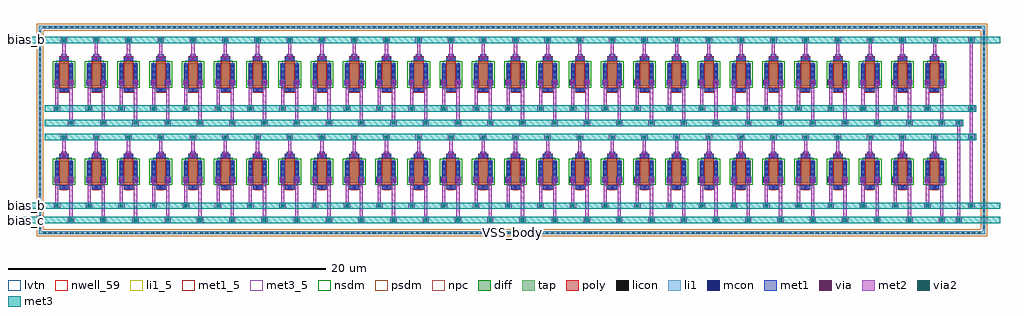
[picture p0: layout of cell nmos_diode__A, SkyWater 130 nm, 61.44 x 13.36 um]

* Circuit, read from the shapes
.subckt nmos_diode__A VSS_body bias_b bias_c
XM1 bias_c bias_b bias_b VSS_body sky130_fd_pr__nfet_01v8_lvt w=1.4 l=0.6 m=56
.ends

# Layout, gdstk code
import gdstk
lib = gdstk.Library(unit=1e-6, precision=1e-09)
def R(c, l, rs):  # rectangles x0, y0, x1, y1
    for r in rs: c.add(gdstk.rectangle(r[:2], r[2:], *l))
def A(c, l, x, y, w, h, nx, ny, dx, dy):  # array of equal rectangles
    R(c, l, [(x+i*dx, y+j*dy, x+i*dx+w, y+j*dy+h) for i in range(nx) for j in range(ny)])
nwell_59 = (64, 59)
diff = (65, 20)
tap = (65, 44)
poly = (66, 20)
licon = (66, 44)
li1_5 = (67, 5)
li1 = (67, 20)
mcon = (67, 44)
met1_5 = (68, 5)
met1 = (68, 20)
via = (68, 44)
met2 = (69, 20)
via2 = (69, 44)
met3_5 = (70, 5)
met3 = (70, 20)
nsdm = (93, 44)
psdm = (94, 20)
npc = (95, 20)
lvtn = (125, 44)

sky130_fd_pr__nfet_01v8_ = lib.new_cell('sky130_fd_pr__nfet_01v8_lvt_KCM6UP')
R(sky130_fd_pr__nfet_01v8_, diff, [(-0.59,-0.7,0.59,0.7)])
R(sky130_fd_pr__nfet_01v8_, poly, [(-0.3,-1.14,0.3,1.14)])
A(sky130_fd_pr__nfet_01v8_, licon, -0.53, -0.595, 0.17, 0.17, 1, 4, 0, 0.34)
A(sky130_fd_pr__nfet_01v8_, licon, 0.36, -0.595, 0.17, 0.17, 1, 4, 0, 0.34)
R(sky130_fd_pr__nfet_01v8_, licon, [(-0.085,-1.06,0.085,-0.89), (-0.085,0.89,0.085,1.06)])
R(sky130_fd_pr__nfet_01v8_, li1, [(-0.3,-1.06,0.3,-0.89), (-0.53,-0.72,-0.36,0.72), (0.36,-0.72,0.53,0.72), (-0.3,0.89,0.3,1.06)])
A(sky130_fd_pr__nfet_01v8_, mcon, -0.53, -0.625, 0.17, 0.17, 1, 4, 0, 0.36)
A(sky130_fd_pr__nfet_01v8_, mcon, 0.36, -0.625, 0.17, 0.17, 1, 4, 0, 0.36)
R(sky130_fd_pr__nfet_01v8_, mcon, [(-0.085,-1.06,0.085,-0.89), (-0.085,0.89,0.085,1.06)])
R(sky130_fd_pr__nfet_01v8_, met1, [(-0.28,-1.09,0.28,-0.86), (-0.56,-0.7,-0.33,0.7), (0.33,-0.7,0.56,0.7), (-0.28,0.86,0.28,1.09)])
R(sky130_fd_pr__nfet_01v8_, nsdm, [(-0.715,-0.825,0.715,0.825)])
R(sky130_fd_pr__nfet_01v8_, npc, [(-0.185,-1.16,0.185,-0.79), (-0.185,0.79,0.185,1.16)])
R(sky130_fd_pr__nfet_01v8_, lvtn, [(-0.48,-0.88,0.48,0.88)])
sky130_fd_pr__nfet_01v8_.add(gdstk.Label('D', (-0.445,0), layer=67, texttype=5))
sky130_fd_pr__nfet_01v8_.add(gdstk.Label('S', (0.445,0), layer=67, texttype=5))
sky130_fd_pr__nfet_01v8_.add(gdstk.Label('G', (0,0.975), layer=67, texttype=5))

nfet_01v8_lvt_w1p4_l0p6_ = lib.new_cell('nfet_01v8_lvt_W1p4_L0p6_m56__nf1_gboth_sdfull_ng')
R(nfet_01v8_lvt_w1p4_l0p6_, nwell_59, [(0.05,1.09,0.15,1.19)])
R(nfet_01v8_lvt_w1p4_l0p6_, met1_5, [(0.03,1.14,0.26,1.34), (0.92,1.14,1.15,1.34), (0.31,2,0.87,2.23)])
R(nfet_01v8_lvt_w1p4_l0p6_, met1, [(0.03,1.14,0.26,1.34), (0.92,1.14,1.15,1.34), (0.31,2,0.87,2.23)])
nfet_01v8_lvt_w1p4_l0p6_.add(gdstk.Reference(sky130_fd_pr__nfet_01v8_, (0.59,1.14)))
nfet_01v8_lvt_w1p4_l0p6_.add(gdstk.Label('D', (0.145,1.24), layer=68, texttype=5))
nfet_01v8_lvt_w1p4_l0p6_.add(gdstk.Label('S', (1.035,1.24), layer=68, texttype=5))
nfet_01v8_lvt_w1p4_l0p6_.add(gdstk.Label('G', (0.59,2.115), layer=68, texttype=5))
nfet_01v8_lvt_w1p4_l0p6_.add(gdstk.Label('B', (0.1,1.14), layer=64, texttype=59))

nmos_diode__a = lib.new_cell('nmos_diode__A')
R(nmos_diode__a, tap, [(-0.885,-2.785,58.725,-2.615), (-0.885,-2.615,-0.715,10.155), (58.555,-2.615,58.725,10.155), (-0.885,10.155,58.725,10.325)])
A(nmos_diode__a, licon, -0.575, -2.785, 0.17, 0.17, 174, 2, 0.34, 12.94)
A(nmos_diode__a, licon, -0.885, -2.435, 0.17, 0.17, 1, 37, 0, 0.34)
A(nmos_diode__a, licon, 58.555, -2.435, 0.17, 0.17, 1, 37, 0, 0.34)
R(nmos_diode__a, li1_5, [(28.87,-2.75,28.97,-2.65)])
R(nmos_diode__a, li1, [(-0.885,-2.785,58.725,-2.615), (-0.885,-2.615,-0.715,10.155), (58.555,-2.615,58.725,10.155), (-0.885,10.155,58.725,10.325)])
A(nmos_diode__a, met1, 0.535, 2.05, 0.36, 0.36, 28, 2, 2.03, 6.12)
R(nmos_diode__a, met1, [(0.09,0.46,0.45,0.82), (0.98,0.46,1.34,0.82), (2.12,0.46,2.48,0.82), (3.01,0.46,3.37,0.82), (4.15,0.46,4.51,0.82), (5.04,0.46,5.4,0.82), (6.18,0.46,6.54,0.82), (7.07,0.46,7.43,0.82), (8.21,0.46,8.57,0.82), (9.1,0.46,9.46,0.82), (10.24,0.46,10.6,0.82), (11.13,0.46,11.49,0.82), (12.27,0.46,12.63,0.82), (13.16,0.46,13.52,0.82), (14.3,0.46,14.66,0.82), (15.19,0.46,15.55,0.82), (16.33,0.46,16.69,0.82), (17.22,0.46,17.58,0.82), (18.36,0.46,18.72,0.82), (19.25,0.46,19.61,0.82), (20.39,0.46,20.75,0.82), (21.28,0.46,21.64,0.82), (22.42,0.46,22.78,0.82), (23.31,0.46,23.67,0.82), (24.45,0.46,24.81,0.82), (25.34,0.46,25.7,0.82), (26.48,0.46,26.84,0.82), (27.37,0.46,27.73,0.82), (28.51,0.46,28.87,0.82), (29.4,0.46,29.76,0.82), (30.54,0.46,30.9,0.82), (31.43,0.46,31.79,0.82), (32.57,0.46,32.93,0.82), (33.46,0.46,33.82,0.82), (34.6,0.46,34.96,0.82), (35.49,0.46,35.85,0.82), (36.63,0.46,36.99,0.82), (37.52,0.46,37.88,0.82), (38.66,0.46,39.02,0.82), (39.55,0.46,39.91,0.82), (40.69,0.46,41.05,0.82), (41.58,0.46,41.94,0.82), (42.72,0.46,43.08,0.82), (43.61,0.46,43.97,0.82), (44.75,0.46,45.11,0.82), (45.64,0.46,46,0.82), (46.78,0.46,47.14,0.82), (47.67,0.46,48.03,0.82), (48.81,0.46,49.17,0.82), (49.7,0.46,50.06,0.82), (50.84,0.46,51.2,0.82), (51.73,0.46,52.09,0.82), (52.87,0.46,53.23,0.82), (53.76,0.46,54.12,0.82), (54.9,0.46,55.26,0.82), (55.79,0.46,56.15,0.82), (0.09,6.58,0.45,6.94), (0.98,6.58,1.34,6.94), (2.12,6.58,2.48,6.94), (3.01,6.58,3.37,6.94), (4.15,6.58,4.51,6.94), (5.04,6.58,5.4,6.94), (6.18,6.58,6.54,6.94), (7.07,6.58,7.43,6.94), (8.21,6.58,8.57,6.94), (9.1,6.58,9.46,6.94), (10.24,6.58,10.6,6.94), (11.13,6.58,11.49,6.94), (12.27,6.58,12.63,6.94), (13.16,6.58,13.52,6.94), (14.3,6.58,14.66,6.94), (15.19,6.58,15.55,6.94), (16.33,6.58,16.69,6.94), (17.22,6.58,17.58,6.94), (18.36,6.58,18.72,6.94), (19.25,6.58,19.61,6.94), (20.39,6.58,20.75,6.94), (21.28,6.58,21.64,6.94), (22.42,6.58,22.78,6.94), (23.31,6.58,23.67,6.94), (24.45,6.58,24.81,6.94), (25.34,6.58,25.7,6.94), (26.48,6.58,26.84,6.94), (27.37,6.58,27.73,6.94), (28.51,6.58,28.87,6.94), (29.4,6.58,29.76,6.94), (30.54,6.58,30.9,6.94), (31.43,6.58,31.79,6.94), (32.57,6.58,32.93,6.94), (33.46,6.58,33.82,6.94), (34.6,6.58,34.96,6.94), (35.49,6.58,35.85,6.94), (36.63,6.58,36.99,6.94), (37.52,6.58,37.88,6.94), (38.66,6.58,39.02,6.94), (39.55,6.58,39.91,6.94), (40.69,6.58,41.05,6.94), (41.58,6.58,41.94,6.94), (42.72,6.58,43.08,6.94), (43.61,6.58,43.97,6.94), (44.75,6.58,45.11,6.94), (45.64,6.58,46,6.94), (46.78,6.58,47.14,6.94), (47.67,6.58,48.03,6.94), (48.81,6.58,49.17,6.94), (49.7,6.58,50.06,6.94), (50.84,6.58,51.2,6.94), (51.73,6.58,52.09,6.94), (52.87,6.58,53.23,6.94), (53.76,6.58,54.12,6.94), (54.9,6.58,55.26,6.94), (55.79,6.58,56.15,6.94)])
A(nmos_diode__a, via, 0.64, 2.155, 0.15, 0.15, 28, 2, 2.03, 6.12)
R(nmos_diode__a, via, [(0.195,0.565,0.345,0.715), (1.085,0.565,1.235,0.715), (2.225,0.565,2.375,0.715), (3.115,0.565,3.265,0.715), (4.255,0.565,4.405,0.715), (5.145,0.565,5.295,0.715), (6.285,0.565,6.435,0.715), (7.175,0.565,7.325,0.715), (8.315,0.565,8.465,0.715), (9.205,0.565,9.355,0.715), (10.345,0.565,10.495,0.715), (11.235,0.565,11.385,0.715), (12.375,0.565,12.525,0.715), (13.265,0.565,13.415,0.715), (14.405,0.565,14.555,0.715), (15.295,0.565,15.445,0.715), (16.435,0.565,16.585,0.715), (17.325,0.565,17.475,0.715), (18.465,0.565,18.615,0.715), (19.355,0.565,19.505,0.715), (20.495,0.565,20.645,0.715), (21.385,0.565,21.535,0.715), (22.525,0.565,22.675,0.715), (23.415,0.565,23.565,0.715), (24.555,0.565,24.705,0.715), (25.445,0.565,25.595,0.715), (26.585,0.565,26.735,0.715), (27.475,0.565,27.625,0.715), (28.615,0.565,28.765,0.715), (29.505,0.565,29.655,0.715), (30.645,0.565,30.795,0.715), (31.535,0.565,31.685,0.715), (32.675,0.565,32.825,0.715), (33.565,0.565,33.715,0.715), (34.705,0.565,34.855,0.715), (35.595,0.565,35.745,0.715), (36.735,0.565,36.885,0.715), (37.625,0.565,37.775,0.715), (38.765,0.565,38.915,0.715), (39.655,0.565,39.805,0.715), (40.795,0.565,40.945,0.715), (41.685,0.565,41.835,0.715), (42.825,0.565,42.975,0.715), (43.715,0.565,43.865,0.715), (44.855,0.565,45.005,0.715), (45.745,0.565,45.895,0.715), (46.885,0.565,47.035,0.715), (47.775,0.565,47.925,0.715), (48.915,0.565,49.065,0.715), (49.805,0.565,49.955,0.715), (50.945,0.565,51.095,0.715), (51.835,0.565,51.985,0.715), (52.975,0.565,53.125,0.715), (53.865,0.565,54.015,0.715), (55.005,0.565,55.155,0.715), (55.895,0.565,56.045,0.715), (0.195,6.685,0.345,6.835), (1.085,6.685,1.235,6.835), (2.225,6.685,2.375,6.835), (3.115,6.685,3.265,6.835), (4.255,6.685,4.405,6.835), (5.145,6.685,5.295,6.835), (6.285,6.685,6.435,6.835), (7.175,6.685,7.325,6.835), (8.315,6.685,8.465,6.835), (9.205,6.685,9.355,6.835), (10.345,6.685,10.495,6.835), (11.235,6.685,11.385,6.835), (12.375,6.685,12.525,6.835), (13.265,6.685,13.415,6.835), (14.405,6.685,14.555,6.835), (15.295,6.685,15.445,6.835), (16.435,6.685,16.585,6.835), (17.325,6.685,17.475,6.835), (18.465,6.685,18.615,6.835), (19.355,6.685,19.505,6.835), (20.495,6.685,20.645,6.835), (21.385,6.685,21.535,6.835), (22.525,6.685,22.675,6.835), (23.415,6.685,23.565,6.835), (24.555,6.685,24.705,6.835), (25.445,6.685,25.595,6.835), (26.585,6.685,26.735,6.835), (27.475,6.685,27.625,6.835), (28.615,6.685,28.765,6.835), (29.505,6.685,29.655,6.835), (30.645,6.685,30.795,6.835), (31.535,6.685,31.685,6.835), (32.675,6.685,32.825,6.835), (33.565,6.685,33.715,6.835), (34.705,6.685,34.855,6.835), (35.595,6.685,35.745,6.835), (36.735,6.685,36.885,6.835), (37.625,6.685,37.775,6.835), (38.765,6.685,38.915,6.835), (39.655,6.685,39.805,6.835), (40.795,6.685,40.945,6.835), (41.685,6.685,41.835,6.835), (42.825,6.685,42.975,6.835), (43.715,6.685,43.865,6.835), (44.855,6.685,45.005,6.835), (45.745,6.685,45.895,6.835), (46.885,6.685,47.035,6.835), (47.775,6.685,47.925,6.835), (48.915,6.685,49.065,6.835), (49.805,6.685,49.955,6.835), (50.945,6.685,51.095,6.835), (51.835,6.685,51.985,6.835), (52.975,6.685,53.125,6.835), (53.865,6.685,54.015,6.835), (55.005,6.685,55.155,6.835), (55.895,6.685,56.045,6.835)])
A(nmos_diode__a, met2, 0.96, -2.1, 0.4, 0.4, 28, 2, 2.03, 6.12)
A(nmos_diode__a, met2, 1.06, -1.7, 0.2, 2.18, 28, 2, 2.03, 6.12)
A(nmos_diode__a, met2, 0.07, -1.2, 0.4, 0.4, 28, 2, 2.03, 6.12)
A(nmos_diode__a, met2, 0.17, -0.8, 0.2, 1.28, 28, 2, 2.03, 6.12)
A(nmos_diode__a, met2, 0.585, 2.07, 0.26, 0.32, 28, 2, 2.03, 6.12)
A(nmos_diode__a, met2, 0.615, 2.39, 0.2, 0.73, 28, 2, 2.03, 6.12)
A(nmos_diode__a, met2, 0.515, 3.12, 0.4, 0.4, 28, 2, 2.03, 6.12)
R(nmos_diode__a, met2, [(56.84,-2.1,57.24,-1.7), (56.94,-1.7,57.14,4.02), (57.64,-1.2,58.04,-0.8), (57.74,-0.8,57.94,3.12), (0.14,0.48,0.4,0.8), (1.03,0.48,1.29,0.8), (2.17,0.48,2.43,0.8), (3.06,0.48,3.32,0.8), (4.2,0.48,4.46,0.8), (5.09,0.48,5.35,0.8), (6.23,0.48,6.49,0.8), (7.12,0.48,7.38,0.8), (8.26,0.48,8.52,0.8), (9.15,0.48,9.41,0.8), (10.29,0.48,10.55,0.8), (11.18,0.48,11.44,0.8), (12.32,0.48,12.58,0.8), (13.21,0.48,13.47,0.8), (14.35,0.48,14.61,0.8), (15.24,0.48,15.5,0.8), (16.38,0.48,16.64,0.8), (17.27,0.48,17.53,0.8), (18.41,0.48,18.67,0.8), (19.3,0.48,19.56,0.8), (20.44,0.48,20.7,0.8), (21.33,0.48,21.59,0.8), (22.47,0.48,22.73,0.8), (23.36,0.48,23.62,0.8), (24.5,0.48,24.76,0.8), (25.39,0.48,25.65,0.8), (26.53,0.48,26.79,0.8), (27.42,0.48,27.68,0.8), (28.56,0.48,28.82,0.8), (29.45,0.48,29.71,0.8), (30.59,0.48,30.85,0.8), (31.48,0.48,31.74,0.8), (32.62,0.48,32.88,0.8), (33.51,0.48,33.77,0.8), (34.65,0.48,34.91,0.8), (35.54,0.48,35.8,0.8), (36.68,0.48,36.94,0.8), (37.57,0.48,37.83,0.8), (38.71,0.48,38.97,0.8), (39.6,0.48,39.86,0.8), (40.74,0.48,41,0.8), (41.63,0.48,41.89,0.8), (42.77,0.48,43.03,0.8), (43.66,0.48,43.92,0.8), (44.8,0.48,45.06,0.8), (45.69,0.48,45.95,0.8), (46.83,0.48,47.09,0.8), (47.72,0.48,47.98,0.8), (48.86,0.48,49.12,0.8), (49.75,0.48,50.01,0.8), (50.89,0.48,51.15,0.8), (51.78,0.48,52.04,0.8), (52.92,0.48,53.18,0.8), (53.81,0.48,54.07,0.8), (54.95,0.48,55.21,0.8), (55.84,0.48,56.1,0.8), (57.64,3.12,58.04,3.52), (57.74,3.52,57.94,4.92), (56.84,4.02,57.24,4.42), (57.64,4.92,58.04,5.32), (57.74,5.32,57.94,9.24), (0.14,6.6,0.4,6.92), (1.03,6.6,1.29,6.92), (2.17,6.6,2.43,6.92), (3.06,6.6,3.32,6.92), (4.2,6.6,4.46,6.92), (5.09,6.6,5.35,6.92), (6.23,6.6,6.49,6.92), (7.12,6.6,7.38,6.92), (8.26,6.6,8.52,6.92), (9.15,6.6,9.41,6.92), (10.29,6.6,10.55,6.92), (11.18,6.6,11.44,6.92), (12.32,6.6,12.58,6.92), (13.21,6.6,13.47,6.92), (14.35,6.6,14.61,6.92), (15.24,6.6,15.5,6.92), (16.38,6.6,16.64,6.92), (17.27,6.6,17.53,6.92), (18.41,6.6,18.67,6.92), (19.3,6.6,19.56,6.92), (20.44,6.6,20.7,6.92), (21.33,6.6,21.59,6.92), (22.47,6.6,22.73,6.92), (23.36,6.6,23.62,6.92), (24.5,6.6,24.76,6.92), (25.39,6.6,25.65,6.92), (26.53,6.6,26.79,6.92), (27.42,6.6,27.68,6.92), (28.56,6.6,28.82,6.92), (29.45,6.6,29.71,6.92), (30.59,6.6,30.85,6.92), (31.48,6.6,31.74,6.92), (32.62,6.6,32.88,6.92), (33.51,6.6,33.77,6.92), (34.65,6.6,34.91,6.92), (35.54,6.6,35.8,6.92), (36.68,6.6,36.94,6.92), (37.57,6.6,37.83,6.92), (38.71,6.6,38.97,6.92), (39.6,6.6,39.86,6.92), (40.74,6.6,41,6.92), (41.63,6.6,41.89,6.92), (42.77,6.6,43.03,6.92), (43.66,6.6,43.92,6.92), (44.8,6.6,45.06,6.92), (45.69,6.6,45.95,6.92), (46.83,6.6,47.09,6.92), (47.72,6.6,47.98,6.92), (48.86,6.6,49.12,6.92), (49.75,6.6,50.01,6.92), (50.89,6.6,51.15,6.92), (51.78,6.6,52.04,6.92), (52.92,6.6,53.18,6.92), (53.81,6.6,54.07,6.92), (54.95,6.6,55.21,6.92), (55.84,6.6,56.1,6.92), (57.64,9.24,58.04,9.64)])
A(nmos_diode__a, via2, 1.06, -2, 0.2, 0.2, 28, 2, 2.03, 6.12)
A(nmos_diode__a, via2, 0.17, -1.1, 0.2, 0.2, 28, 2, 2.03, 6.12)
A(nmos_diode__a, via2, 0.615, 3.22, 0.2, 0.2, 28, 2, 2.03, 6.12)
R(nmos_diode__a, via2, [(56.94,-2,57.14,-1.8), (57.74,-1.1,57.94,-0.9), (57.74,3.22,57.94,3.42), (56.94,4.12,57.14,4.32), (57.74,5.02,57.94,5.22), (57.74,9.34,57.94,9.54)])
R(nmos_diode__a, met3_5, [(-1.7,-1.95,-1.6,-1.85), (-1.7,-1.05,-1.6,-0.95), (-1.7,9.39,-1.6,9.49)])
R(nmos_diode__a, met3, [(-1.8,-2.1,59.64,-1.7), (-1.8,-1.2,59.64,-0.8), (-0.5,3.12,58.14,3.52), (-0.5,4.02,57.34,4.42), (-0.5,4.92,58.14,5.32), (-1.8,9.24,59.64,9.64)])
R(nmos_diode__a, psdm, [(-1.01,-2.91,58.85,-2.49), (-1.01,-2.49,-0.59,10.03), (58.43,-2.49,58.85,10.03), (-1.01,10.03,58.85,10.45)])
nmos_diode__a.add(gdstk.Reference(nfet_01v8_lvt_w1p4_l0p6_, (54.94,6.12)))
nmos_diode__a.add(gdstk.Reference(nfet_01v8_lvt_w1p4_l0p6_, (52.91,6.12)))
nmos_diode__a.add(gdstk.Reference(nfet_01v8_lvt_w1p4_l0p6_, (50.88,6.12)))
nmos_diode__a.add(gdstk.Reference(nfet_01v8_lvt_w1p4_l0p6_, (48.85,6.12)))
nmos_diode__a.add(gdstk.Reference(nfet_01v8_lvt_w1p4_l0p6_, (46.82,6.12)))
nmos_diode__a.add(gdstk.Reference(nfet_01v8_lvt_w1p4_l0p6_, (44.79,6.12)))
nmos_diode__a.add(gdstk.Reference(nfet_01v8_lvt_w1p4_l0p6_, (42.76,6.12)))
nmos_diode__a.add(gdstk.Reference(nfet_01v8_lvt_w1p4_l0p6_, (40.73,6.12)))
nmos_diode__a.add(gdstk.Reference(nfet_01v8_lvt_w1p4_l0p6_, (38.7,6.12)))
nmos_diode__a.add(gdstk.Reference(nfet_01v8_lvt_w1p4_l0p6_, (36.67,6.12)))
nmos_diode__a.add(gdstk.Reference(nfet_01v8_lvt_w1p4_l0p6_, (34.64,6.12)))
nmos_diode__a.add(gdstk.Reference(nfet_01v8_lvt_w1p4_l0p6_, (32.61,6.12)))
nmos_diode__a.add(gdstk.Reference(nfet_01v8_lvt_w1p4_l0p6_, (30.58,6.12)))
nmos_diode__a.add(gdstk.Reference(nfet_01v8_lvt_w1p4_l0p6_, (28.55,6.12)))
nmos_diode__a.add(gdstk.Reference(nfet_01v8_lvt_w1p4_l0p6_, (26.52,6.12)))
nmos_diode__a.add(gdstk.Reference(nfet_01v8_lvt_w1p4_l0p6_, (24.49,6.12)))
nmos_diode__a.add(gdstk.Reference(nfet_01v8_lvt_w1p4_l0p6_, (22.46,6.12)))
nmos_diode__a.add(gdstk.Reference(nfet_01v8_lvt_w1p4_l0p6_, (20.43,6.12)))
nmos_diode__a.add(gdstk.Reference(nfet_01v8_lvt_w1p4_l0p6_, (18.4,6.12)))
nmos_diode__a.add(gdstk.Reference(nfet_01v8_lvt_w1p4_l0p6_, (16.37,6.12)))
nmos_diode__a.add(gdstk.Reference(nfet_01v8_lvt_w1p4_l0p6_, (14.34,6.12)))
nmos_diode__a.add(gdstk.Reference(nfet_01v8_lvt_w1p4_l0p6_, (12.31,6.12)))
nmos_diode__a.add(gdstk.Reference(nfet_01v8_lvt_w1p4_l0p6_, (10.28,6.12)))
nmos_diode__a.add(gdstk.Reference(nfet_01v8_lvt_w1p4_l0p6_, (8.25,6.12)))
nmos_diode__a.add(gdstk.Reference(nfet_01v8_lvt_w1p4_l0p6_, (6.22,6.12)))
nmos_diode__a.add(gdstk.Reference(nfet_01v8_lvt_w1p4_l0p6_, (4.19,6.12)))
nmos_diode__a.add(gdstk.Reference(nfet_01v8_lvt_w1p4_l0p6_, (2.16,6.12)))
nmos_diode__a.add(gdstk.Reference(nfet_01v8_lvt_w1p4_l0p6_, (0.13,6.12)))
nmos_diode__a.add(gdstk.Reference(nfet_01v8_lvt_w1p4_l0p6_, (54.94,0)))
nmos_diode__a.add(gdstk.Reference(nfet_01v8_lvt_w1p4_l0p6_, (52.91,0)))
nmos_diode__a.add(gdstk.Reference(nfet_01v8_lvt_w1p4_l0p6_, (50.88,0)))
nmos_diode__a.add(gdstk.Reference(nfet_01v8_lvt_w1p4_l0p6_, (48.85,0)))
nmos_diode__a.add(gdstk.Reference(nfet_01v8_lvt_w1p4_l0p6_, (46.82,0)))
nmos_diode__a.add(gdstk.Reference(nfet_01v8_lvt_w1p4_l0p6_, (44.79,0)))
nmos_diode__a.add(gdstk.Reference(nfet_01v8_lvt_w1p4_l0p6_, (42.76,0)))
nmos_diode__a.add(gdstk.Reference(nfet_01v8_lvt_w1p4_l0p6_, (40.73,0)))
nmos_diode__a.add(gdstk.Reference(nfet_01v8_lvt_w1p4_l0p6_, (38.7,0)))
nmos_diode__a.add(gdstk.Reference(nfet_01v8_lvt_w1p4_l0p6_, (36.67,0)))
nmos_diode__a.add(gdstk.Reference(nfet_01v8_lvt_w1p4_l0p6_, (34.64,0)))
nmos_diode__a.add(gdstk.Reference(nfet_01v8_lvt_w1p4_l0p6_, (32.61,0)))
nmos_diode__a.add(gdstk.Reference(nfet_01v8_lvt_w1p4_l0p6_, (30.58,0)))
nmos_diode__a.add(gdstk.Reference(nfet_01v8_lvt_w1p4_l0p6_, (28.55,0)))
nmos_diode__a.add(gdstk.Reference(nfet_01v8_lvt_w1p4_l0p6_, (26.52,0)))
nmos_diode__a.add(gdstk.Reference(nfet_01v8_lvt_w1p4_l0p6_, (24.49,0)))
nmos_diode__a.add(gdstk.Reference(nfet_01v8_lvt_w1p4_l0p6_, (22.46,0)))
nmos_diode__a.add(gdstk.Reference(nfet_01v8_lvt_w1p4_l0p6_, (20.43,0)))
nmos_diode__a.add(gdstk.Reference(nfet_01v8_lvt_w1p4_l0p6_, (18.4,0)))
nmos_diode__a.add(gdstk.Reference(nfet_01v8_lvt_w1p4_l0p6_, (16.37,0)))
nmos_diode__a.add(gdstk.Reference(nfet_01v8_lvt_w1p4_l0p6_, (14.34,0)))
nmos_diode__a.add(gdstk.Reference(nfet_01v8_lvt_w1p4_l0p6_, (12.31,0)))
nmos_diode__a.add(gdstk.Reference(nfet_01v8_lvt_w1p4_l0p6_, (10.28,0)))
nmos_diode__a.add(gdstk.Reference(nfet_01v8_lvt_w1p4_l0p6_, (8.25,0)))
nmos_diode__a.add(gdstk.Reference(nfet_01v8_lvt_w1p4_l0p6_, (6.22,0)))
nmos_diode__a.add(gdstk.Reference(nfet_01v8_lvt_w1p4_l0p6_, (4.19,0)))
nmos_diode__a.add(gdstk.Reference(nfet_01v8_lvt_w1p4_l0p6_, (2.16,0)))
nmos_diode__a.add(gdstk.Reference(nfet_01v8_lvt_w1p4_l0p6_, (0.13,0)))
nmos_diode__a.add(gdstk.Label('bias_b', (-1.65,9.44), layer=70, texttype=5))
nmos_diode__a.add(gdstk.Label('bias_b', (-1.65,-1), layer=70, texttype=5))
nmos_diode__a.add(gdstk.Label('bias_c', (-1.65,-1.9), layer=70, texttype=5))
nmos_diode__a.add(gdstk.Label('VSS_body', (28.92,-2.7), layer=67, texttype=5))

lib.write_gds('nmos_diode__A.gds')
